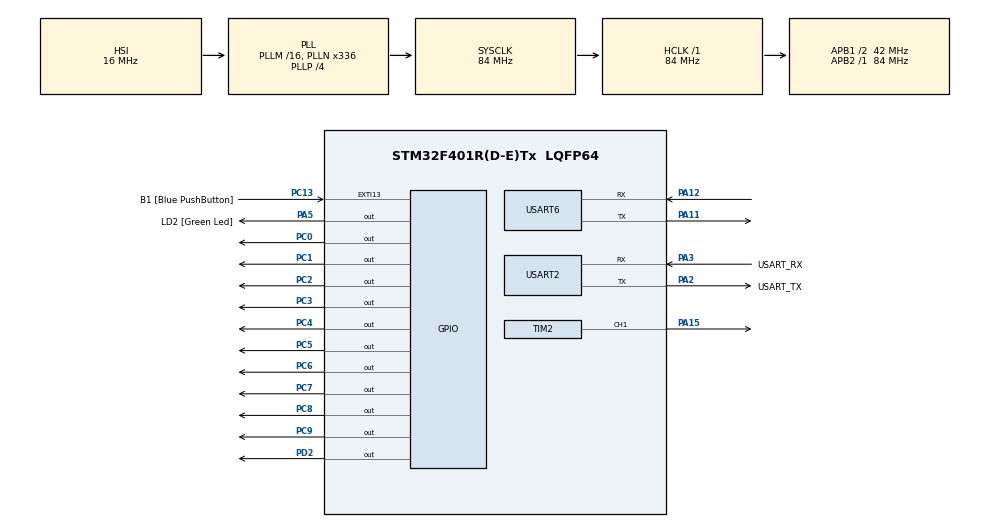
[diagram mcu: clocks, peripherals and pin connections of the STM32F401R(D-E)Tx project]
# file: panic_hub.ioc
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Mcu.Family=STM32F4
Mcu.Name=STM32F401R(D-E)Tx
Mcu.Package=LQFP64
NVIC.PriorityGroup=NVIC_PRIORITYGROUP_0
PA11.Mode=Asynchronous
PA11.Signal=USART6_TX
PA12.Mode=Asynchronous
PA12.Signal=USART6_RX
PA13.GPIO_Label=TMS
PA13.Mode=Serial_Wire
PA13.Signal=SYS_JTMS-SWDIO
PA14.GPIO_Label=TCK
PA14.Mode=Serial_Wire
PA14.Signal=SYS_JTCK-SWCLK
PA15.Signal=S_TIM2_CH1_ETR
PA2.GPIO_Label=USART_TX
PA2.GPIO_Mode=GPIO_MODE_AF_PP
PA2.GPIO_PuPd=GPIO_NOPULL
PA2.GPIO_Speed=GPIO_SPEED_FREQ_LOW
PA2.Mode=Asynchronous
PA2.Signal=USART2_TX
PA3.GPIO_Label=USART_RX
PA3.GPIO_Mode=GPIO_MODE_AF_PP
PA3.GPIO_PuPd=GPIO_NOPULL
PA3.GPIO_Speed=GPIO_SPEED_FREQ_LOW
PA3.Mode=Asynchronous
PA3.Signal=USART2_RX
PA5.GPIO_Label=LD2 [Green Led]
PA5.GPIO_Mode=GPIO_MODE_OUTPUT_PP
PA5.GPIO_PuPd=GPIO_NOPULL
PA5.GPIO_Speed=GPIO_SPEED_FREQ_LOW
PA5.Signal=GPIO_Output
PB3.GPIO_Label=SWO
PB3.Signal=SYS_JTDO-SWO
PC0.Signal=GPIO_Output
PC1.Signal=GPIO_Output
PC13-ANTI_TAMP.GPIO_Label=B1 [Blue PushButton]
PC13-ANTI_TAMP.GPIO_ModeDefaultEXTI=GPIO_MODE_IT_FALLING
PC13-ANTI_TAMP.GPIO_PuPd=GPIO_NOPULL
PC13-ANTI_TAMP.Signal=GPXTI13
PC14-OSC32_IN.Mode=LSE-External-Oscillator
PC14-OSC32_IN.Signal=RCC_OSC32_IN
PC15-OSC32_OUT.Mode=LSE-External-Oscillator
PC15-OSC32_OUT.Signal=RCC_OSC32_OUT
PC2.Signal=GPIO_Output
PC3.Signal=GPIO_Output
PC4.Signal=GPIO_Output
PC5.Signal=GPIO_Output
PC6.Signal=GPIO_Output
PC7.Signal=GPIO_Output
PC8.Signal=GPIO_Output
PC9.Signal=GPIO_Output
PD2.Signal=GPIO_Output
PH0\ -\ OSC_IN.Mode=HSE-External-Clock-Source
PH0\ -\ OSC_IN.Signal=RCC_OSC_IN
PH1\ -\ OSC_OUT.Mode=HSE-External-Clock-Source
PH1\ -\ OSC_OUT.Signal=RCC_OSC_OUT
ProjectManager.HeapSize=0x200
ProjectManager.StackSize=0x400
ProjectManager.TargetToolchain=STM32CubeIDE
RCC.48MHZClocksFreq_Value=48000000
RCC.AHBFreq_Value=84000000
RCC.APB1CLKDivider=RCC_HCLK_DIV2
RCC.APB1Freq_Value=42000000
RCC.APB1TimFreq_Value=84000000
RCC.APB2Freq_Value=84000000
RCC.APB2TimFreq_Value=84000000
RCC.CortexFreq_Value=84000000
RCC.HCLKFreq_Value=84000000
RCC.HSE_VALUE=8000000
RCC.HSI_VALUE=16000000
RCC.PLLN=336
RCC.PLLP=RCC_PLLP_DIV4
RCC.PLLQ=7
RCC.SYSCLKFreq_VALUE=84000000
RCC.SYSCLKSource=RCC_SYSCLKSOURCE_PLLCLK
RCC.VCOOutputFreq_Value=336000000
SH.S_TIM2_CH1_ETR.0=TIM2_CH1,PWM Generation1 CH1
TIM2.AutoReloadPreload=TIM_AUTORELOAD_PRELOAD_ENABLE
TIM2.Channel-PWM\ Generation1\ CH1=TIM_CHANNEL_1
TIM2.Period=16
TIM2.Prescaler=65535
TIM2.Pulse-PWM\ Generation1\ CH1=1
USART2.VirtualMode=VM_ASYNC
USART6.VirtualMode=VM_ASYNC
VP_TIM2_VS_ClockSourceINT.Mode=Internal
board=NUCLEO-F401RE

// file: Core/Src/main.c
/* USER CODE BEGIN Header */
/**
  ******************************************************************************
  * @file           : main.c
  * @brief          : Main program body
  ******************************************************************************
  * @attention
  *
  * Copyright (c) 2024 STMicroelectronics.
  * All rights reserved.
  *
  * This software is licensed under terms that can be found in the LICENSE file
  * in the root directory of this software component.
  * If no LICENSE file comes with this software, it is provided AS-IS.
  *
  ******************************************************************************
  */
/* USER CODE END Header */
#include "main.h"

/* USER CODE BEGIN Includes */
#include "lcd.h"
#include <stdbool.h>

/* USER CODE END Includes */

TIM_HandleTypeDef htim2;

UART_HandleTypeDef huart2;
UART_HandleTypeDef huart6;

void SystemClock_Config(void);
static void MX_GPIO_Init(void);
static void MX_USART2_UART_Init(void);
static void MX_TIM2_Init(void);
static void MX_USART6_UART_Init(void);

int main(void)
{

  /* MCU Configuration--------------------------------------------------------*/

  /* Reset of all peripherals, Initializes the Flash interface and the Systick. */
  HAL_Init();

  /* Configure the system clock */
  SystemClock_Config();

  /* Initialize all configured peripherals */
  MX_GPIO_Init();
  MX_USART2_UART_Init();
  MX_TIM2_Init();
  MX_USART6_UART_Init();
  /* USER CODE BEGIN 2 */
  uint8_t rxData;

  // Lcd_PortType ports[] = { D4_GPIO_Port, D5_GPIO_Port, D6_GPIO_Port, D7_GPIO_Port };
  Lcd_PortType ports[] = { GPIOC, GPIOC, GPIOC, GPIOC, GPIOC, GPIOC, GPIOC, GPIOC };
  // Lcd_PinType pins[] = {D4_Pin, D5_Pin, D6_Pin, D7_Pin};
  Lcd_PinType pins[] = {GPIO_PIN_0, GPIO_PIN_1, GPIO_PIN_2, GPIO_PIN_3, GPIO_PIN_4, GPIO_PIN_5, GPIO_PIN_6, GPIO_PIN_7};
  Lcd_HandleTypeDef lcd;
  // Lcd_create(ports, pins, RS_GPIO_Port, RS_Pin, EN_GPIO_Port, EN_Pin, LCD_4_BIT_MODE);
  lcd = Lcd_create(ports, pins, GPIOC, GPIO_PIN_8, GPIOD, GPIO_PIN_2, LCD_8_BIT_MODE);
  HAL_TIM_PWM_Start(&htim2, TIM_CHANNEL_1);

  //Lcd_cursor(&lcd, 0,1);
  //Lcd_string(&lcd, "Distress signal");
  bool panicDetected = false;

  ////////////

/*for ( int x = 1; x <= 200 ; x++ )
{
Lcd_cursor(&lcd, 1,7);
Lcd_int(&lcd, x);
HAL_Delay (1000);
}*/
//HAL_Delay(10000);         // Delay 5 seconds
//Lcd_clear(&lcd);         // Clear the display

  /* USER CODE END 2 */

  /* Infinite loop */
  /* USER CODE BEGIN WHILE */
  while (1)
  {

	  if (HAL_UART_Receive(&huart6, &rxData, 1, HAL_MAX_DELAY) == HAL_OK)
	  	       {
	  		  	  HAL_GPIO_TogglePin(GPIOA, GPIO_PIN_5);
	  			  HAL_UART_Transmit(&huart2, "Click", 5, HAL_MAX_DELAY);
	  			  panicDetected = !panicDetected;
	  			  if (panicDetected) {
		  			  Lcd_cursor(&lcd, 0,1);
		  			  Lcd_string(&lcd, "Distress signal");
	  			  } else {
	  				  Lcd_clear(&lcd);
	  			  }

	  			  //HAL_Delay(1000);

	  	       }

    /* USER CODE END WHILE */

  }
}

void SystemClock_Config(void)
{
  RCC_OscInitTypeDef RCC_OscInitStruct = {0};
  RCC_ClkInitTypeDef RCC_ClkInitStruct = {0};

  /** Configure the main internal regulator output voltage
  */
  __HAL_RCC_PWR_CLK_ENABLE();
  __HAL_PWR_VOLTAGESCALING_CONFIG(PWR_REGULATOR_VOLTAGE_SCALE2);

  /** Initializes the RCC Oscillators according to the specified parameters
  * in the RCC_OscInitTypeDef structure.
  */
  RCC_OscInitStruct.OscillatorType = RCC_OSCILLATORTYPE_HSI;
  RCC_OscInitStruct.HSIState = RCC_HSI_ON;
  RCC_OscInitStruct.HSICalibrationValue = RCC_HSICALIBRATION_DEFAULT;
  RCC_OscInitStruct.PLL.PLLState = RCC_PLL_ON;
  RCC_OscInitStruct.PLL.PLLSource = RCC_PLLSOURCE_HSI;
  RCC_OscInitStruct.PLL.PLLM = 16;
  RCC_OscInitStruct.PLL.PLLN = 336;
  RCC_OscInitStruct.PLL.PLLP = RCC_PLLP_DIV4;
  RCC_OscInitStruct.PLL.PLLQ = 7;
  if (HAL_RCC_OscConfig(&RCC_OscInitStruct) != HAL_OK)
  {
    Error_Handler();
  }

  /** Initializes the CPU, AHB and APB buses clocks
  */
  RCC_ClkInitStruct.ClockType = RCC_CLOCKTYPE_HCLK|RCC_CLOCKTYPE_SYSCLK
                              |RCC_CLOCKTYPE_PCLK1|RCC_CLOCKTYPE_PCLK2;
  RCC_ClkInitStruct.SYSCLKSource = RCC_SYSCLKSOURCE_PLLCLK;
  RCC_ClkInitStruct.AHBCLKDivider = RCC_SYSCLK_DIV1;
  RCC_ClkInitStruct.APB1CLKDivider = RCC_HCLK_DIV2;
  RCC_ClkInitStruct.APB2CLKDivider = RCC_HCLK_DIV1;

  if (HAL_RCC_ClockConfig(&RCC_ClkInitStruct, FLASH_LATENCY_2) != HAL_OK)
  {
    Error_Handler();
  }
}

static void MX_TIM2_Init(void)
{

  TIM_ClockConfigTypeDef sClockSourceConfig = {0};
  TIM_MasterConfigTypeDef sMasterConfig = {0};
  TIM_OC_InitTypeDef sConfigOC = {0};

  htim2.Instance = TIM2;
  htim2.Init.Prescaler = 65535;
  htim2.Init.CounterMode = TIM_COUNTERMODE_UP;
  htim2.Init.Period = 16;
  htim2.Init.ClockDivision = TIM_CLOCKDIVISION_DIV1;
  htim2.Init.AutoReloadPreload = TIM_AUTORELOAD_PRELOAD_ENABLE;
  if (HAL_TIM_Base_Init(&htim2) != HAL_OK)
  {
    Error_Handler();
  }
  sClockSourceConfig.ClockSource = TIM_CLOCKSOURCE_INTERNAL;
  if (HAL_TIM_ConfigClockSource(&htim2, &sClockSourceConfig) != HAL_OK)
  {
    Error_Handler();
  }
  if (HAL_TIM_PWM_Init(&htim2) != HAL_OK)
  {
    Error_Handler();
  }
  sMasterConfig.MasterOutputTrigger = TIM_TRGO_RESET;
  sMasterConfig.MasterSlaveMode = TIM_MASTERSLAVEMODE_DISABLE;
  if (HAL_TIMEx_MasterConfigSynchronization(&htim2, &sMasterConfig) != HAL_OK)
  {
    Error_Handler();
  }
  sConfigOC.OCMode = TIM_OCMODE_PWM1;
  sConfigOC.Pulse = 1;
  sConfigOC.OCPolarity = TIM_OCPOLARITY_HIGH;
  sConfigOC.OCFastMode = TIM_OCFAST_DISABLE;
  if (HAL_TIM_PWM_ConfigChannel(&htim2, &sConfigOC, TIM_CHANNEL_1) != HAL_OK)
  {
    Error_Handler();
  }
  HAL_TIM_MspPostInit(&htim2);

}

static void MX_USART2_UART_Init(void)
{

  huart2.Instance = USART2;
  huart2.Init.BaudRate = 115200;
  huart2.Init.WordLength = UART_WORDLENGTH_8B;
  huart2.Init.StopBits = UART_STOPBITS_1;
  huart2.Init.Parity = UART_PARITY_NONE;
  huart2.Init.Mode = UART_MODE_TX_RX;
  huart2.Init.HwFlowCtl = UART_HWCONTROL_NONE;
  huart2.Init.OverSampling = UART_OVERSAMPLING_16;
  if (HAL_UART_Init(&huart2) != HAL_OK)
  {
    Error_Handler();
  }

}

static void MX_USART6_UART_Init(void)
{

  huart6.Instance = USART6;
  huart6.Init.BaudRate = 115200;
  huart6.Init.WordLength = UART_WORDLENGTH_8B;
  huart6.Init.StopBits = UART_STOPBITS_1;
  huart6.Init.Parity = UART_PARITY_NONE;
  huart6.Init.Mode = UART_MODE_TX_RX;
  huart6.Init.HwFlowCtl = UART_HWCONTROL_NONE;
  huart6.Init.OverSampling = UART_OVERSAMPLING_16;
  if (HAL_UART_Init(&huart6) != HAL_OK)
  {
    Error_Handler();
  }

}

static void MX_GPIO_Init(void)
{
  GPIO_InitTypeDef GPIO_InitStruct = {0};

  /* GPIO Ports Clock Enable */
  __HAL_RCC_GPIOC_CLK_ENABLE();
  __HAL_RCC_GPIOH_CLK_ENABLE();
  __HAL_RCC_GPIOA_CLK_ENABLE();
  __HAL_RCC_GPIOD_CLK_ENABLE();
  __HAL_RCC_GPIOB_CLK_ENABLE();

  /*Configure GPIO pin Output Level */
  HAL_GPIO_WritePin(GPIOC, GPIO_PIN_0|GPIO_PIN_1|GPIO_PIN_2|GPIO_PIN_3
                          |GPIO_PIN_4|GPIO_PIN_5|GPIO_PIN_6|GPIO_PIN_7
                          |GPIO_PIN_8|GPIO_PIN_9, GPIO_PIN_RESET);

  /*Configure GPIO pin Output Level */
  HAL_GPIO_WritePin(LD2_GPIO_Port, LD2_Pin, GPIO_PIN_RESET);

  /*Configure GPIO pin Output Level */
  HAL_GPIO_WritePin(GPIOD, GPIO_PIN_2, GPIO_PIN_RESET);

  /*Configure GPIO pin : B1_Pin */
  GPIO_InitStruct.Pin = B1_Pin;
  GPIO_InitStruct.Mode = GPIO_MODE_IT_FALLING;
  GPIO_InitStruct.Pull = GPIO_NOPULL;
  HAL_GPIO_Init(B1_GPIO_Port, &GPIO_InitStruct);

  /*Configure GPIO pins : PC0 PC1 PC2 PC3
                           PC4 PC5 PC6 PC7
                           PC8 PC9 */
  GPIO_InitStruct.Pin = GPIO_PIN_0|GPIO_PIN_1|GPIO_PIN_2|GPIO_PIN_3
                          |GPIO_PIN_4|GPIO_PIN_5|GPIO_PIN_6|GPIO_PIN_7
                          |GPIO_PIN_8|GPIO_PIN_9;
  GPIO_InitStruct.Mode = GPIO_MODE_OUTPUT_PP;
  GPIO_InitStruct.Pull = GPIO_NOPULL;
  GPIO_InitStruct.Speed = GPIO_SPEED_FREQ_LOW;
  HAL_GPIO_Init(GPIOC, &GPIO_InitStruct);

  /*Configure GPIO pin : LD2_Pin */
  GPIO_InitStruct.Pin = LD2_Pin;
  GPIO_InitStruct.Mode = GPIO_MODE_OUTPUT_PP;
  GPIO_InitStruct.Pull = GPIO_NOPULL;
  GPIO_InitStruct.Speed = GPIO_SPEED_FREQ_LOW;
  HAL_GPIO_Init(LD2_GPIO_Port, &GPIO_InitStruct);

  /*Configure GPIO pin : PD2 */
  GPIO_InitStruct.Pin = GPIO_PIN_2;
  GPIO_InitStruct.Mode = GPIO_MODE_OUTPUT_PP;
  GPIO_InitStruct.Pull = GPIO_NOPULL;
  GPIO_InitStruct.Speed = GPIO_SPEED_FREQ_LOW;
  HAL_GPIO_Init(GPIOD, &GPIO_InitStruct);

}

void Error_Handler(void)
{
  __disable_irq();
  while (1)
  {
  }
}
